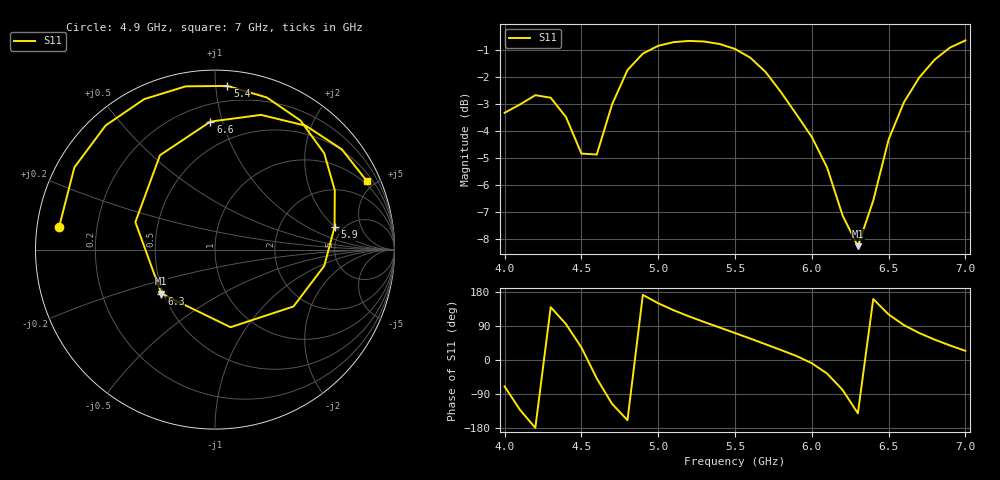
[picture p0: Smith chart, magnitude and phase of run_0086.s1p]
! Touchstone file exported from HFSS 2024.2.0
!  File:  C:/Users/wsak9/Desktop/Sim Fast/Widenad Patch/WP_AI_V1_sweep.aedt
!  Generated:  06:31:12 PM Oct 13, 2026
!  Design:  A1_model
!  Project:  WP_AI_V1_sweep
!  Setup:  Setup1
!  Solution:  Sweep
! Variables:
!  Air_gap = 2.56mm
!  Curve_Amp1 = 3.27
!  Curve_len1 = 1
!  Curve_pos = 13.19mm
!  Extra = 1.08mm
!  H_sub = 0.79mm
!  L_Patch = 22.38mm
!  L_Patch1 = 16.28mm
!  Sx = 2.55mm
!  Sy = 4.64mm
!  WS = 0.68mm
!  W_Patch = 10.76mm
!  W_Patch1 = 15.2mm
!Data is not renormalized
# GHz S MA
! Terminal data exported
! Port[1] = 1
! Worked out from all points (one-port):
!   31 points, 4 GHz to 7 GHz, reference per port
!   lowest |S11| = -8.3 dB at 6.3 GHz (marker M1), VSWR 2.26
!   |S11| at or under -10 dB: nowhere
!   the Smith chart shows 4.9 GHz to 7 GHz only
!   S11 on the Smith chart (normalised r, x): 4.9 GHz: 0.07, +0.07; 5.4 GHz: 0.10, +1.07; 5.9 GHz: 4.25, +1.97; 6.3 GHz: 0.49, -0.28; 6.6 GHz: 0.31, +0.91; 7 GHz: 0.82, +4.52
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4  0.6822 -69.8
4.1  0.7069 -131.4
4.2  0.7353 -179.2
4.3  0.7274 139.5
4.4  0.6697 94.6
4.5  0.5734 33.2
4.6  0.5711 -48.6
4.7  0.7073 -115.9
4.8  0.8184 -158.9
4.9  0.8778 171.9
5  0.9076 149.7
5.1  0.9218 131.4
5.2  0.9266 115.2
5.3  0.9242 100.2
5.4  0.9145 85.7
5.5  0.8954 71.2
5.7  0.8113 41.4
5.9  0.6777 10.6
6  0.6154 -8.5
6.1  0.54 -35.9
6.2  0.4409 -78.7
6.3  0.3866 -140.6
6.4  0.4693 161.0
6.5  0.6086 120.3
6.6  0.7136 92.0
6.7  0.7932 71.1
6.8  0.8556 53.8
7  0.9284 24.2
